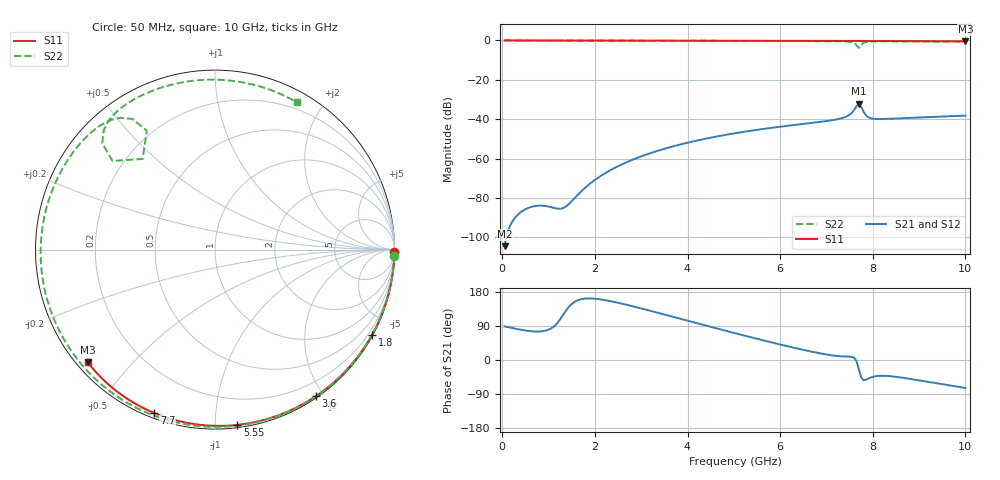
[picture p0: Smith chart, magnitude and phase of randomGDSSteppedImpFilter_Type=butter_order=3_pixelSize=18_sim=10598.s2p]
! freq	dB(S11)	phase(S11)	dB(S12)	phase(S12)
!  dB(S21)	phase(S21)	dB(S22)	phase(S22)
!S-par simulation data
#  GHz  S  DB  R 50
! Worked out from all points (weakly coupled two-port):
!   200 points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, 50 MHz to 10 GHz, reference 50 ohm
!   highest |S21| = -32.10 dB at 7.7 GHz (marker M1); lowest = -104.4 dB at 50 MHz (marker M2)
!   lowest |S11| = -0.5 dB at 10 GHz (marker M3), VSWR 37.13, Z = 1.54 - j18.9 ohm
!   |S11| at or under -10 dB: nowhere
!   |S22| runs from -3.8 to 0.0 dB; largest |S21 - S12| = 0
!   S11 on the Smith chart (normalised r, x): 50 MHz: open; 1.8 GHz: 0.03, -3.95; 3.6 GHz: 0.02, -1.90; 5.55 GHz: 0.02, -1.14; 7.7 GHz: 0.02, -0.69; 10 GHz: 0.03, -0.38
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0.05  -0.00 -0.8  -104.41 88.7  -104.41 88.7  -0.00 -2.0
0.75  -0.01 -11.9  -83.93 75.0  -83.93 75.0  -0.04 -29.0
1.55  -0.03 -24.5  -80.30 152.6  -80.30 152.6  -0.07 -58.4
1.75  -0.04 -27.6  -75.59 161.5  -75.59 161.5  -0.08 -65.5
1.8  -0.04 -28.4  -74.53 162.2  -74.53 162.2  -0.08 -67.2
2.45  -0.05 -38.4  -64.40 152.3  -64.40 152.3  -0.11 -88.8
3.4  -0.07 -52.5  -55.68 123.3  -55.68 123.3  -0.14 -117.7
3.6  -0.07 -55.5  -54.32 116.8  -54.32 116.8  -0.15 -123.5
4.35  -0.09 -66.2  -50.07 92.4  -50.07 92.4  -0.18 -144.1
5.05  -0.12 -76.0  -47.01 69.9  -47.01 69.9  -0.21 -162.6
5.55  -0.14 -82.7  -45.20 54.4  -45.20 54.4  -0.24 -175.5
6.7  -0.19 -97.8  -41.80 21.5  -41.80 21.5  -0.33 154.3
7.3  -0.23 -105.5  -39.66 9.8  -39.66 9.8  -0.45 136.5
7.55  -0.24 -108.6  -36.69 8.2  -36.69 8.2  -0.88 125.6
7.65  -0.25 -109.8  -33.33 -3.2  -33.33 -3.2  -2.34 119.8
7.7  -0.25 -110.4  -32.10 -24.3  -32.10 -24.3  -3.79 128.6
7.75  -0.25 -111.0  -33.68 -46.0  -33.68 -46.0  -2.44 139.2
7.8  -0.26 -111.7  -36.17 -53.1  -36.17 -53.1  -1.27 136.6
7.95  -0.27 -113.6  -39.42 -46.5  -39.42 -46.5  -0.54 127.3
8.35  -0.30 -118.5  -39.75 -42.4  -39.75 -42.4  -0.43 112.7
9.2  -0.38 -128.8  -38.84 -57.9  -38.84 -57.9  -0.48 86.3
10  -0.47 -138.5  -38.15 -73.6  -38.15 -73.6  -0.55 60.9
